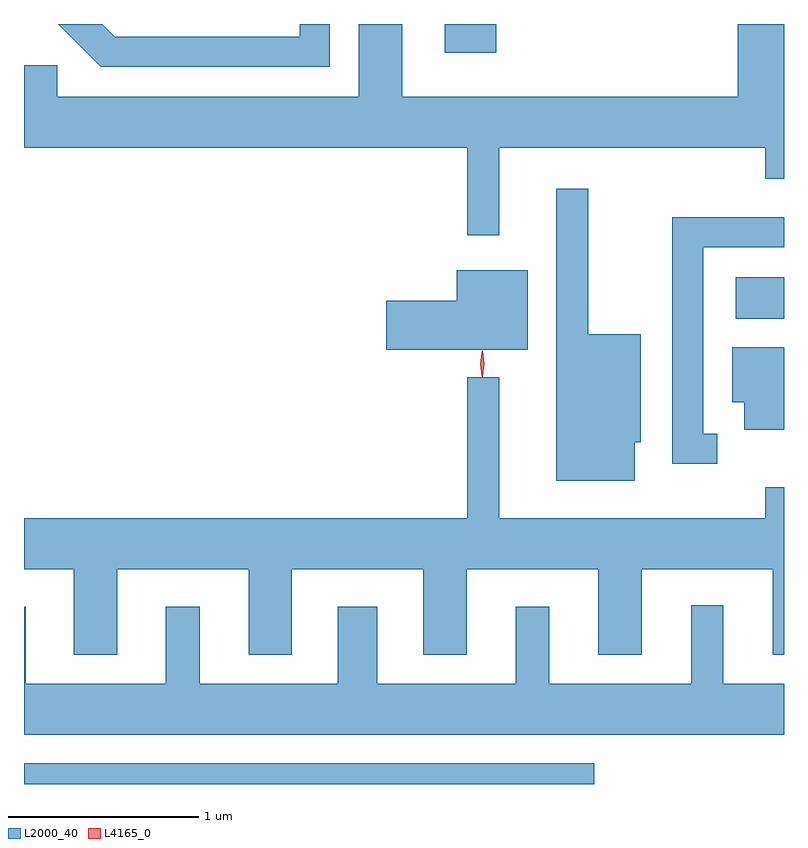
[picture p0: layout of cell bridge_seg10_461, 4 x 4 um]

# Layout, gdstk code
import gdstk
lib = gdstk.Library(unit=1e-6, precision=1e-09)
def R(c, l, rs):  # rectangles x0, y0, x1, y1
    for r in rs: c.add(gdstk.rectangle(r[:2], r[2:], *l))
def P(c, l, *ps):  # polygons
    for p in ps: c.add(gdstk.Polygon(p, *l))
L2000_40 = (2000, 40)
L4165_0 = (4165, 0)

bridge_seg10_461 = lib.new_cell('bridge_seg10_461')
R(bridge_seg10_461, L2000_40, [(1037.379,2157.186,1040.379,2157.294), (1041.126,2159.636,1041.379,2159.854), (1039.593,2161.036,1039.864,2161.186)])
P(bridge_seg10_461, L2000_40, [(1039.879,2160.536),(1041.281,2160.536),(1041.281,2160.371),(1041.379,2160.371),(1041.379,2161.186),(1041.136,2161.186),(1041.136,2160.804),(1039.369,2160.804),(1039.369,2161.186),(1039.141,2161.186),(1039.141,2160.804),(1037.554,2160.804),(1037.554,2160.969),(1037.379,2160.969),(1037.379,2160.536),(1039.711,2160.536),(1039.711,2160.073),(1039.879,2160.073)],
  [(1038.989,2161.186),(1038.831,2161.186),(1038.831,2161.119),(1037.857,2161.119),(1037.79,2161.186),(1037.559,2161.186),(1037.784,2160.961),(1038.989,2160.961)],
  [(1040.594,2158.986),(1040.624,2158.986),(1040.624,2159.554),(1040.349,2159.554),(1040.349,2160.318),(1040.181,2160.318),(1040.181,2158.781),(1040.594,2158.781)],
  [(1041.027,2159.029),(1040.954,2159.029),(1040.954,2160.011),(1041.379,2160.011),(1041.379,2160.169),(1040.791,2160.169),(1040.791,2158.871),(1041.027,2158.871)],
  [(1040.029,2159.889),(1039.656,2159.889),(1039.656,2159.729),(1039.286,2159.729),(1039.286,2159.471),(1040.029,2159.471)],
  [(1041.379,2159.484),(1041.106,2159.484),(1041.106,2159.196),(1041.171,2159.196),(1041.171,2159.051),(1041.379,2159.051)],
  [(1037.869,2158.316),(1038.561,2158.316),(1038.561,2157.866),(1038.789,2157.866),(1038.789,2158.316),(1039.481,2158.316),(1039.481,2157.866),(1039.709,2157.866),(1039.709,2158.316),(1040.401,2158.316),(1040.401,2157.866),(1040.629,2157.866),(1040.629,2158.316),(1041.321,2158.316),(1041.321,2157.866),(1041.379,2157.866),(1041.379,2158.749),(1041.281,2158.749),(1041.281,2158.584),(1039.879,2158.584),(1039.879,2159.328),(1039.711,2159.328),(1039.711,2158.584),(1037.379,2158.584),(1037.379,2158.316),(1037.641,2158.316),(1037.641,2157.866),(1037.869,2157.866)],
  [(1041.379,2157.714),(1041.059,2157.714),(1041.059,2158.128),(1040.891,2158.128),(1040.891,2157.714),(1040.144,2157.714),(1040.144,2158.119),(1039.966,2158.119),(1039.966,2157.714),(1039.239,2157.714),(1039.239,2158.119),(1039.031,2158.119),(1039.031,2157.714),(1038.304,2157.714),(1038.304,2158.119),(1038.126,2158.119),(1038.126,2157.714),(1037.389,2157.714),(1037.389,2158.119),(1037.379,2158.119),(1037.379,2157.446),(1041.379,2157.446)])
P(bridge_seg10_461, L4165_0, [(1039.792,2159.33),(1039.792,2159.33),(1039.782,2159.398),(1039.792,2159.466),(1039.792,2159.466),(1039.793,2159.466),(1039.802,2159.398),(1039.793,2159.33)],
  [(1039.789,2159.333),(1039.789,2159.334),(1039.779,2159.396),(1039.788,2159.459),(1039.789,2159.46),(1039.789,2159.459),(1039.799,2159.396),(1039.79,2159.334)])

lib.write_gds('bridge_seg10_461.gds')
